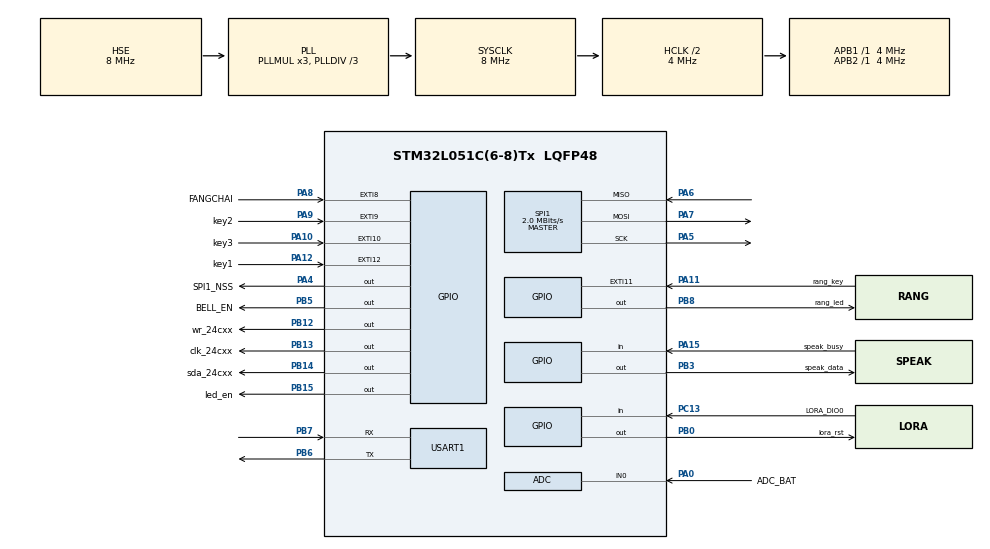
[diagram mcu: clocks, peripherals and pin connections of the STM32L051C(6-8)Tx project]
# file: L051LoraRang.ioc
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Mcu.Family=STM32L0
Mcu.Name=STM32L051C(6-8)Tx
Mcu.Package=LQFP48
NVIC.EXTI4_15_IRQn=true\:2\:0\:true\:true\:true\:2\:true\:true
NVIC.RTC_IRQn=true\:1\:0\:true\:true\:true\:1\:true\:true
NVIC.TIM2_IRQn=true\:0\:0\:false\:false\:true\:false\:true
NVIC.TimeBase=TIM2_IRQn
NVIC.TimeBaseIP=TIM2
PA0.GPIO_Label=ADC_BAT
PA0.Mode=IN0
PA0.Signal=ADC_IN0
PA10.GPIO_Label=key3
PA10.GPIO_ModeDefaultEXTI=GPIO_MODE_IT_FALLING
PA10.GPIO_PuPd=GPIO_PULLUP
PA10.Signal=GPXTI10
PA11.GPIO_Label=rang_key
PA11.GPIO_ModeDefaultEXTI=GPIO_MODE_IT_FALLING
PA11.GPIO_PuPd=GPIO_PULLUP
PA11.Signal=GPXTI11
PA12.GPIO_Label=key1
PA12.GPIO_ModeDefaultEXTI=GPIO_MODE_IT_FALLING
PA12.GPIO_PuPd=GPIO_PULLUP
PA12.Signal=GPXTI12
PA13.Mode=Serial_Wire
PA13.Signal=SYS_SWDIO
PA14.Mode=Serial_Wire
PA14.Signal=SYS_SWCLK
PA15.GPIO_Label=speak_busy
PA15.GPIO_PuPd=GPIO_PULLUP
PA15.Signal=GPIO_Input
PA4.GPIO_Label=SPI1_NSS
PA4.GPIO_ModeDefaultOutputPP=GPIO_MODE_OUTPUT_PP
PA4.GPIO_PuPd=GPIO_PULLUP
PA4.PinState=GPIO_PIN_RESET
PA4.Signal=GPIO_Output
PA5.Mode=Full_Duplex_Master
PA5.Signal=SPI1_SCK
PA6.Mode=Full_Duplex_Master
PA6.Signal=SPI1_MISO
PA7.Mode=Full_Duplex_Master
PA7.Signal=SPI1_MOSI
PA8.GPIO_Label=FANGCHAI
PA8.GPIO_ModeDefaultEXTI=GPIO_MODE_IT_FALLING
PA8.GPIO_PuPd=GPIO_PULLUP
PA8.Signal=GPXTI8
PA9.GPIO_Label=key2
PA9.GPIO_ModeDefaultEXTI=GPIO_MODE_IT_FALLING
PA9.GPIO_PuPd=GPIO_PULLUP
PA9.Signal=GPXTI9
PB0.GPIO_Label=lora_rst
PB0.GPIO_PuPd=GPIO_NOPULL
PB0.PinState=GPIO_PIN_RESET
PB0.Signal=GPIO_Output
PB12.GPIO_Label=wr_24cxx
PB12.GPIO_PuPd=GPIO_PULLUP
PB12.PinState=GPIO_PIN_RESET
PB12.Signal=GPIO_Output
PB13.GPIO_Label=clk_24cxx
PB13.GPIO_PuPd=GPIO_PULLUP
PB13.PinState=GPIO_PIN_SET
PB13.Signal=GPIO_Output
PB14.GPIO_Label=sda_24cxx
PB14.GPIO_PuPd=GPIO_PULLUP
PB14.PinState=GPIO_PIN_SET
PB14.Signal=GPIO_Output
PB15.GPIO_Label=led_en
PB15.GPIO_PuPd=GPIO_PULLUP
PB15.PinState=GPIO_PIN_SET
PB15.Signal=GPIO_Output
PB3.GPIO_Label=speak_data
PB3.GPIO_PuPd=GPIO_PULLUP
PB3.PinState=GPIO_PIN_RESET
PB3.Signal=GPIO_Output
PB5.GPIO_Label=BELL_EN
PB5.GPIO_PuPd=GPIO_PULLUP
PB5.PinState=GPIO_PIN_RESET
PB5.Signal=GPIO_Output
PB6.Mode=Asynchronous
PB6.Signal=USART1_TX
PB7.Mode=Asynchronous
PB7.Signal=USART1_RX
PB8.GPIO_FM8=__NULL
PB8.GPIO_Label=rang_led
PB8.GPIO_PuPd=GPIO_PULLUP
PB8.PinState=GPIO_PIN_SET
PB8.Signal=GPIO_Output
PC13.GPIO_Label=LORA_DIO0
PC13.GPIO_PuPd=GPIO_PULLUP
PC13.Signal=GPIO_Input
PH0-OSC_IN.Mode=HSE-External-Oscillator
PH0-OSC_IN.Signal=RCC_OSC_IN
PH1-OSC_OUT.Mode=HSE-External-Oscillator
PH1-OSC_OUT.Signal=RCC_OSC_OUT
ProjectManager.HeapSize=0x200
ProjectManager.StackSize=0x800
ProjectManager.TargetToolchain=MDK-ARM V5.27
RCC.AHBCLKDivider=RCC_SYSCLK_DIV2
RCC.AHBFreq_Value=4000000
RCC.APB1Freq_Value=4000000
RCC.APB1TimFreq_Value=4000000
RCC.APB2Freq_Value=4000000
RCC.APB2TimFreq_Value=4000000
RCC.EnbaleCSS=true
RCC.HCLKFreq_Value=4000000
RCC.HSE_VALUE=8000000
RCC.HSI16_VALUE=16000000
RCC.HSI_VALUE=16000000
RCC.LSE_VALUE=32768
RCC.MSIClockRange=RCC_MSIRANGE_6
RCC.MSI_VALUE=4194000
RCC.PLLDIV=RCC_PLLDIV_3
RCC.PLLSourceVirtual=RCC_PLLSOURCE_HSE
RCC.SYSCLKFreq_VALUE=8000000
RCC.SYSCLKSource=RCC_SYSCLKSOURCE_PLLCLK
RCC.VCOOutputFreq_Value=24000000
RTC.AsynchPrediv=36
RTC.SynchPrediv=999
RTC.WakeUpClock-WakeUp=RTC_WAKEUPCLOCK_CK_SPRE_16BITS
RTC.WakeUpCounter-WakeUp=600
SPI1.BaudRatePrescaler=SPI_BAUDRATEPRESCALER_2
SPI1.CalculateBaudRate=2.0 MBits/s
SPI1.Direction=SPI_DIRECTION_2LINES
SPI1.Mode=SPI_MODE_MASTER
SPI1.VirtualType=VM_MASTER
USART1.VirtualMode-Asynchronous=VM_ASYNC
VP_RTC_VS_RTC_Activate.Mode=RTC_Enabled
VP_RTC_VS_RTC_WakeUp_intern.Mode=WakeUp
VP_SYS_VS_tim2.Mode=TIM2
board=custom

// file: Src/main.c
/* USER CODE BEGIN Header */
/**
  ******************************************************************************
  * @file           : main.c
  * @brief          : Main program body
  ******************************************************************************
  * @attention
  *
  * <h2><center>&copy; Copyright (c) 2020 STMicroelectronics.
  * All rights reserved.</center></h2>
  *
  * This software component is licensed by ST under Ultimate Liberty license
  * SLA0044, the "License"; You may not use this file except in compliance with
  * the License. You may obtain a copy of the License at:
  *                             www.st.com/SLA0044
  *
  ******************************************************************************
  */
/* USER CODE END Header */

#include "main.h"
#include "adc.h"
#include "rtc.h"
#include "spi.h"
#include "usart.h"
#include "gpio.h"

/* USER CODE BEGIN Includes */
#include "stdio.h"
#include "main_app.h"
#include "SX127X_Driver.h"
/* USER CODE END Includes */

/* USER CODE BEGIN PTD */
uint32_t  tim_count=0;
/* USER CODE END PTD */

/* USER CODE BEGIN PM */
/* USER CODE END PV */

/* Private function prototypes -----------------------------------------------*/
void SystemClock_Config(void);
static void MX_NVIC_Init(void);
/* USER CODE BEGIN PFP */
 void bsp_init_main_key()
{
	  GPIO_InitTypeDef GPIO_InitStruct = {0};

    __HAL_RCC_GPIOA_CLK_ENABLE();

	  GPIO_InitStruct.Pin = rang_key_Pin;
    GPIO_InitStruct.Mode = GPIO_MODE_IT_FALLING;
    GPIO_InitStruct.Pull = GPIO_PULLUP;
    HAL_GPIO_Init(GPIOA, &GPIO_InitStruct);

			  GPIO_InitStruct.Pin = FANGCHAI_Pin ;
    GPIO_InitStruct.Mode = GPIO_MODE_IT_FALLING;
    GPIO_InitStruct.Pull = GPIO_NOPULL;
    HAL_GPIO_Init(GPIOA, &GPIO_InitStruct);
 // 	__HAL_RCC_GPIOA_CLK_DISABLE();
	     MX_RTC_Init();
			  MX_NVIC_Init();

}
/* USER CODE END PM */

/* USER CODE BEGIN PV */
extern uint8_t sleep_flag;
/* USER CODE END PV */

void SystemClock_Config(void);
static void MX_NVIC_Init(void);
/* USER CODE BEGIN PFP */
// void bsp_init_main_key()
//{
//	  GPIO_InitTypeDef GPIO_InitStruct = {0};
//
//    __HAL_RCC_GPIOA_CLK_ENABLE();
//
//	  GPIO_InitStruct.Pin = FANGCHAI_Pin |rang_key_Pin;
//    GPIO_InitStruct.Mode = GPIO_MODE_IT_FALLING;
//    GPIO_InitStruct.Pull = GPIO_PULLUP;
//    HAL_GPIO_Init(GPIOA, &GPIO_InitStruct);
// // 	__HAL_RCC_GPIOA_CLK_DISABLE();
////	     MX_RTC_Init();
//			  MX_NVIC_Init();

//}
/* USER CODE END PM */

/* Private variables ---------------------------------------------------------*/

/* USER CODE BEGIN PV */
extern uint8_t sleep_flag;
/* USER CODE END PV */

/* Private function prototypes -----------------------------------------------*/
void SystemClock_Config(void);
static void MX_NVIC_Init(void);
/* USER CODE BEGIN PFP */
//
/* USER CODE END PM */

/* Private variables ---------------------------------------------------------*/

/* USER CODE BEGIN PV */
extern uint8_t sleep_flag;
/* USER CODE END PV */

/* Private function prototypes -----------------------------------------------*/
void SystemClock_Config(void);
static void MX_NVIC_Init(void);
/* USER CODE BEGIN PFP */

/* USER CODE END PM */

/* Private variables ---------------------------------------------------------*/

/* USER CODE BEGIN PV */
extern uint8_t sleep_flag;
extern uint8_t reset_rang_key;
/* USER CODE END PV */

/* Private function prototypes -----------------------------------------------*/
void SystemClock_Config(void);
static void MX_NVIC_Init(void);
/* USER CODE BEGIN PFP */
extern uint8_t password_key;
uint8_t password_key_value=0;
extern  uint8_t runing_state_flag;
/* USER CODE END PM */

/* Private variables ---------------------------------------------------------*/

/* USER CODE BEGIN PV */
extern uint8_t sleep_flag;
/* USER CODE END PV */

/* Private function prototypes -----------------------------------------------*/
void SystemClock_Config(void);
static void MX_NVIC_Init(void);
/* USER CODE BEGIN PFP */

/* USER CODE END PM */

/* Private variables ---------------------------------------------------------*/

/* USER CODE BEGIN PV */
extern uint8_t sleep_flag;
/* USER CODE END PV */

/* Private function prototypes -----------------------------------------------*/

/* USER CODE END PM */

/* Private variables ---------------------------------------------------------*/

/* USER CODE BEGIN PV */
extern uint8_t sleep_flag;
/* USER CODE END PV */

/* Private function prototypes -----------------------------------------------*/
void SystemClock_Config(void);
static void MX_NVIC_Init(void);
/* USER CODE BEGIN PFP */

/* USER CODE END PM */

/* Private variables ---------------------------------------------------------*/

/* USER CODE BEGIN PV */
extern uint8_t sleep_flag;
/* USER CODE END PV */

/* Private function prototypes -----------------------------------------------*/

/* USER CODE END PM */

/* Private variables ---------------------------------------------------------*/

/* USER CODE BEGIN PV */

/* USER CODE END PM */

/* Private variables ---------------------------------------------------------*/

/* USER CODE BEGIN PV */
extern uint8_t sleep_flag;
/* USER CODE END PV */

/* USER CODE END PM */

/* Private variables ---------------------------------------------------------*/

/* USER CODE BEGIN PV */
void stop_mode_config(void)
{
 GPIO_InitTypeDef GPIO_InitStruct;

	              __HAL_RTC_WAKEUPTIMER_EXTI_CLEAR_FLAG();    //clear flag
                __HAL_PWR_CLEAR_FLAG(PWR_FLAG_WU);                //clear Power wakeup flag

  __HAL_RCC_PWR_CLK_ENABLE();
  HAL_PWREx_EnableUltraLowPower();
  HAL_PWREx_EnableFastWakeUp();
  __HAL_RCC_WAKEUPSTOP_CLK_CONFIG(RCC_STOP_WAKEUPCLOCK_MSI);
	__HAL_RCC_GPIOC_CLK_ENABLE();
  __HAL_RCC_GPIOH_CLK_ENABLE();
  __HAL_RCC_GPIOA_CLK_ENABLE();
  __HAL_RCC_GPIOB_CLK_ENABLE();

	GPIO_InitStruct.Pin = led_en_Pin;
  GPIO_InitStruct.Mode = GPIO_MODE_ANALOG;
  GPIO_InitStruct.Pull = GPIO_NOPULL;
  HAL_GPIO_Init(led_en_GPIO_Port, &GPIO_InitStruct);

////////  /*Configure GPIO pin : PtPin */
  GPIO_InitStruct.Pin = SPI1_NSS_Pin;
  GPIO_InitStruct.Mode = GPIO_MODE_ANALOG;
  GPIO_InitStruct.Pull = GPIO_NOPULL;
  HAL_GPIO_Init(SPI1_NSS_GPIO_Port, &GPIO_InitStruct);

//////  /*Configure GPIO pins : PBPin PBPin PBPin PBPin
//////                           PBPin PBPin PBPin */
//////  HAL_GPIO_WritePin(GPIOB, BELL_EN_Pin, GPIO_PIN_RESET); //
    HAL_GPIO_WritePin(GPIOB,  BELL_EN_Pin|speak_data_Pin, GPIO_PIN_RESET);  //下拉低功耗
  GPIO_InitStruct.Pin = lora_rst_Pin|LORA_DIO0_Pin|wr_24cxx_Pin|clk_24cxx_Pin
                          |sda_24cxx_Pin|rang_led_Pin|speak_data_Pin|BELL_EN_Pin;
  GPIO_InitStruct.Mode = GPIO_MODE_ANALOG;
  GPIO_InitStruct.Pull = GPIO_PULLUP;
  HAL_GPIO_Init(GPIOB, &GPIO_InitStruct);

    GPIO_InitStruct.Pin = GPIO_PIN_6|GPIO_PIN_7;
    GPIO_InitStruct.Mode = GPIO_MODE_ANALOG;
    GPIO_InitStruct.Pull = GPIO_NOPULL;
    HAL_GPIO_Init(GPIOB, &GPIO_InitStruct);

    GPIO_InitStruct.Pin = key2_Pin|key3_Pin|key1_Pin;
    GPIO_InitStruct.Mode = GPIO_MODE_ANALOG;
    GPIO_InitStruct.Pull = GPIO_NOPULL;
    HAL_GPIO_Init(GPIOA, &GPIO_InitStruct);

////////  /*Configure GPIO pin : PtPin */
    GPIO_InitStruct.Pin = speak_busy_Pin;
    GPIO_InitStruct.Mode = GPIO_MODE_ANALOG;
    GPIO_InitStruct.Pull = GPIO_NOPULL;
    HAL_GPIO_Init(speak_busy_GPIO_Port, &GPIO_InitStruct);

  __HAL_RCC_GPIOA_CLK_DISABLE();
  __HAL_RCC_GPIOB_CLK_DISABLE();
  __HAL_RCC_GPIOC_CLK_DISABLE();
  __HAL_RCC_GPIOH_CLK_DISABLE();

}
void valve_enter_ed_stop_mode(void)
{
  //config main key with interrupt
	      sleep_flag=1;
     bsp_init_main_key() ;

  __HAL_RCC_PWR_CLK_ENABLE();

  HAL_PWR_EnterSTOPMode(PWR_LOWPOWERREGULATOR_ON, PWR_STOPENTRY_WFI);

}
void sleep_open()
{

  SX127X_SleepMode(); //睡眠模式
	stop_mode_config();
	valve_enter_ed_stop_mode();
}
/* USER CODE END PFP */

/* USER CODE BEGIN 0 */
void sleep_init()
{
    /* USER CODE BEGIN SysInit */
	   HAL_UART_DeInit(&huart1);
	HAL_GPIO_DeInit(GPIOA, GPIO_PIN_All);

	HAL_GPIO_DeInit(GPIOC, GPIO_PIN_All);
  HAL_GPIO_DeInit(GPIOH, GPIO_PIN_All);

//       HAL_UART_DeInit(&hlpuart1);
	     HAL_Init();
  /* USER CODE BEGIN Init */

  /* USER CODE END Init */

  /* Configure the system clock */
  SystemClock_Config();

  /* USER CODE BEGIN SysInit */
      HAL_UART_DeInit(&huart1);
	     HAL_ADC_DeInit(&hadc);
	     HAL_SPI_DeInit(&hspi1);
//		HAL_GPIO_DeInit(GPIOB, GPIO_PIN_15);
  /* USER CODE END SysInit */
  /* Initialize all configured peripherals */
  MX_GPIO_Init();
  MX_ADC_Init();
  MX_USART1_UART_Init();
  MX_SPI1_Init();
  MX_RTC_Init();

//  /* Initialize interrupts */
   MX_NVIC_Init();
  /* USER CODE BEGIN 2 */
	app_lora_config_init();
}
/* USER CODE END 0 */

/* USER CODE END 0 */

/* USER CODE END 0 */

/* USER CODE END 0 */
extern uint8_t xingling_flag;
int main(void)
{

  /* MCU Configuration--------------------------------------------------------*/

  /* Reset of all peripherals, Initializes the Flash interface and the Systick. */
  HAL_Init();

  /* Configure the system clock */
  SystemClock_Config();

  /* Initialize all configured peripherals */
  MX_GPIO_Init();
  MX_ADC_Init();
  MX_USART1_UART_Init();
  MX_SPI1_Init();
  MX_RTC_Init();

//  /* Initialize interrupts */
  MX_NVIC_Init();
  /* USER CODE BEGIN 2 */

		app_lora_config_init();
		while(factory_parameter_set()!=1)
	{
		  //复位按键重新设置,8月31号新加上去代码
        if( reset_rang_key==1)
				{
						HAL_NVIC_SystemReset();
					reset_rang_key=0;
				}
	}

//  /* Reset of all peripherals, Initializes the Flash interface and the Systick. */

  /* USER CODE END 2 */

  /* Infinite loop */
  /* USER CODE BEGIN WHILE */
	 printf("进入sleep");
		 sleep_open();
  while (1)
  {

		 lora_process();
		check_rung_state();
		check_vol_task();
    /* USER CODE END WHILE */

  }
}

void SystemClock_Config(void)
{
  RCC_OscInitTypeDef RCC_OscInitStruct = {0};
  RCC_ClkInitTypeDef RCC_ClkInitStruct = {0};
  RCC_PeriphCLKInitTypeDef PeriphClkInit = {0};

  /** Configure the main internal regulator output voltage
  */
  __HAL_PWR_VOLTAGESCALING_CONFIG(PWR_REGULATOR_VOLTAGE_SCALE1);
  /** Initializes the CPU, AHB and APB busses clocks
  */
  RCC_OscInitStruct.OscillatorType = RCC_OSCILLATORTYPE_LSI|RCC_OSCILLATORTYPE_HSE;
  RCC_OscInitStruct.HSEState = RCC_HSE_ON;
  RCC_OscInitStruct.LSIState = RCC_LSI_ON;
  RCC_OscInitStruct.PLL.PLLState = RCC_PLL_ON;
  RCC_OscInitStruct.PLL.PLLSource = RCC_PLLSOURCE_HSE;
  RCC_OscInitStruct.PLL.PLLMUL = RCC_PLLMUL_3;
  RCC_OscInitStruct.PLL.PLLDIV = RCC_PLLDIV_3;
  if (HAL_RCC_OscConfig(&RCC_OscInitStruct) != HAL_OK)
  {
    Error_Handler();
  }
  /** Initializes the CPU, AHB and APB busses clocks
  */
  RCC_ClkInitStruct.ClockType = RCC_CLOCKTYPE_HCLK|RCC_CLOCKTYPE_SYSCLK
                              |RCC_CLOCKTYPE_PCLK1|RCC_CLOCKTYPE_PCLK2;
  RCC_ClkInitStruct.SYSCLKSource = RCC_SYSCLKSOURCE_PLLCLK;
  RCC_ClkInitStruct.AHBCLKDivider = RCC_SYSCLK_DIV2;
  RCC_ClkInitStruct.APB1CLKDivider = RCC_HCLK_DIV1;
  RCC_ClkInitStruct.APB2CLKDivider = RCC_HCLK_DIV1;

  if (HAL_RCC_ClockConfig(&RCC_ClkInitStruct, FLASH_LATENCY_0) != HAL_OK)
  {
    Error_Handler();
  }
  PeriphClkInit.PeriphClockSelection = RCC_PERIPHCLK_USART1|RCC_PERIPHCLK_RTC;
  PeriphClkInit.Usart1ClockSelection = RCC_USART1CLKSOURCE_PCLK2;
  PeriphClkInit.RTCClockSelection = RCC_RTCCLKSOURCE_LSI;
  if (HAL_RCCEx_PeriphCLKConfig(&PeriphClkInit) != HAL_OK)
  {
    Error_Handler();
  }
  /** Enables the Clock Security System
  */
  HAL_RCC_EnableCSS();
}

/**
  * @brief NVIC Configuration.
  * @retval None
  */
static void MX_NVIC_Init(void)
{
  /* RTC_IRQn interrupt configuration */
  HAL_NVIC_SetPriority(RTC_IRQn, 1, 0);
  HAL_NVIC_EnableIRQ(RTC_IRQn);
  /* EXTI4_15_IRQn interrupt configuration */
  HAL_NVIC_SetPriority(EXTI4_15_IRQn, 2, 0);
  HAL_NVIC_EnableIRQ(EXTI4_15_IRQn);
  /* ADC1_COMP_IRQn interrupt configuration */
  HAL_NVIC_SetPriority(ADC1_COMP_IRQn, 0, 0);
  HAL_NVIC_EnableIRQ(ADC1_COMP_IRQn);
}

 /**
  * @brief  Period elapsed callback in non blocking mode
  * @note   This function is called  when TIM2 interrupt took place, inside
  * HAL_TIM_IRQHandler(). It makes a direct call to HAL_IncTick() to increment
  * a global variable "uwTick" used as application time base.
  * @param  htim : TIM handle
  * @retval None
  */
void HAL_TIM_PeriodElapsedCallback(TIM_HandleTypeDef *htim)
{
  if (htim->Instance == TIM2) {
    HAL_IncTick();
  }
  /* USER CODE BEGIN Callback 1 */
//	if((password_key==1)&&(sleep_flag==1))
//	{
//	    tim_count++;
//	    if(tim_count>2000)
//			{
//				tim_count=0;
//			HAL_ADC_Start_IT(&hadc);
//		  }
//		}
//	else
//	{
//		password_key=0;
//		tim_count=0;
//
//	}
  /* USER CODE END Callback 1 */
}

void Error_Handler(void)
{
}

/************************ (C) COPYRIGHT STMicroelectronics *****END OF FILE****/
